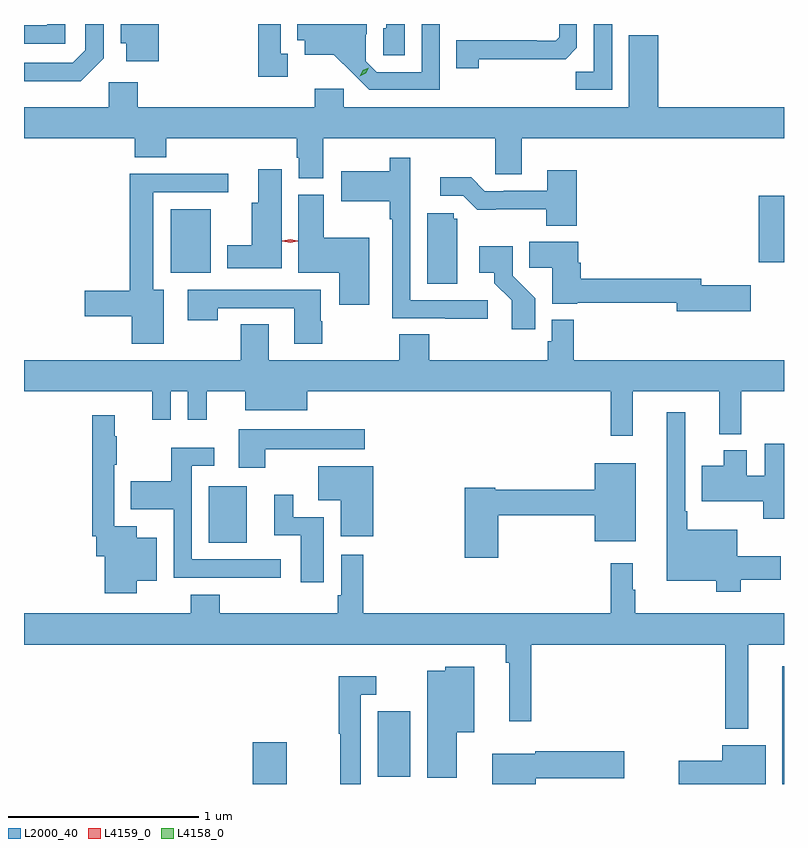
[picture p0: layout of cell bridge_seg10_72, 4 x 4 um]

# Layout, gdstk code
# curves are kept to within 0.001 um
import gdstk
lib = gdstk.Library(unit=1e-6, precision=1e-09)
def R(c, l, rs):  # rectangles x0, y0, x1, y1
    for r in rs: c.add(gdstk.rectangle(r[:2], r[2:], *l))
def P(c, l, *ps):  # polygons
    for p in ps: c.add(gdstk.Polygon(p, *l))
L2000_40 = (2000, 40)
L4158_0 = (4158, 0)
L4159_0 = (4159, 0)

bridge_seg10_72 = lib.new_cell('bridge_seg10_72')
R(bridge_seg10_72, L2000_40, [(712.118,1278.27,712.296,1278.49), (714.905,1278.27,714.914,1278.889), (712.775,1278.308,712.948,1278.652), (711.887,1279.541,712.087,1279.837), (711.686,1280.96,711.898,1281.295), (714.782,1281.015,714.914,1281.367)])
P(bridge_seg10_72, L2000_40, [(711.333,1282.089),(711.333,1282.27),(711.237,1282.27),(711.237,1282.131),(711.171,1282.065),(710.914,1282.065),(710.914,1281.968),(711.212,1281.968)],
  [(712.303,1282.113),(712.264,1282.113),(712.264,1282.27),(712.146,1282.27),(712.146,1281.993),(712.303,1281.993)],
  [(711.623,1282.27),(711.422,1282.27),(711.422,1282.169),(711.452,1282.169),(711.452,1282.074),(711.623,1282.074)],
  [(713.103,1282.27),(713.007,1282.27),(713.007,1282.017),(712.77,1282.017),(712.713,1282.074),(712.713,1282.216),(712.717,1282.216),(712.717,1282.27),(712.352,1282.27),(712.352,1282.185),(712.391,1282.185),(712.391,1282.109),(712.543,1282.109),(712.73,1281.924),(713.103,1281.924)],
  [(714.009,1282.27),(713.913,1282.27),(713.913,1282.019),(713.818,1282.019),(713.818,1281.924),(714.009,1281.924)],
  [(711.132,1282.27),(711.036,1282.27),(711.036,1282.263),(710.914,1282.263),(710.914,1282.167),(711.132,1282.167)],
  [(713.307,1282.084),(713.764,1282.085),(713.823,1282.144),(713.823,1282.27),(713.73,1282.27),(713.73,1282.2),(713.712,1282.182),(713.612,1282.182),(713.612,1282.185),(713.188,1282.185),(713.188,1282.038),(713.307,1282.038)],
  [(712.917,1282.27),(712.821,1282.27),(712.821,1282.248),(712.806,1282.248),(712.806,1282.105),(712.917,1282.105)],
  [(712.489,1281.668),(713.394,1281.668),(713.394,1281.478),(713.533,1281.478),(713.533,1281.668),(714.914,1281.668),(714.914,1281.832),(714.251,1281.832),(714.251,1282.21),(714.098,1282.21),(714.098,1281.832),(712.596,1281.832),(712.596,1281.928),(712.445,1281.928),(712.445,1281.832),(711.512,1281.832),(711.512,1281.964),(711.36,1281.964),(711.36,1281.832),(710.914,1281.832),(710.914,1281.668),(711.497,1281.668),(711.497,1281.569),(711.662,1281.569),(711.662,1281.668),(712.349,1281.668),(712.349,1281.567),(712.361,1281.567),(712.361,1281.457),(712.489,1281.457)],
  [(713.356,1280.817),(712.947,1280.817),(712.947,1281.342),(712.948,1281.342),(712.948,1281.565),(712.839,1281.565),(712.839,1281.496),(712.584,1281.496),(712.584,1281.338),(712.839,1281.338),(712.839,1281.242),(712.851,1281.242),(712.851,1280.721),(713.131,1280.721),(713.131,1280.719),(713.356,1280.719)],
  [(712.27,1281.505),(712.148,1281.505),(712.148,1281.328),(712.112,1281.328),(712.112,1281.106),(711.983,1281.106),(711.983,1280.984),(712.27,1280.984)],
  [(713.822,1281.499),(713.669,1281.499),(713.669,1281.393),(713.44,1281.393),(713.44,1281.39),(713.34,1281.39),(713.267,1281.463),(713.106,1281.463),(713.106,1281.366),(713.226,1281.366),(713.299,1281.293),(713.662,1281.294),(713.662,1281.209),(713.822,1281.209)],
  [(711.649,1280.872),(711.595,1280.872),(711.595,1281.384),(711.988,1281.384),(711.988,1281.482),(711.47,1281.482),(711.47,1280.867),(711.234,1280.867),(711.234,1280.732),(711.482,1280.732),(711.482,1280.586),(711.649,1280.586)],
  [(712.732,1281.145),(712.492,1281.145),(712.492,1281.372),(712.358,1281.372),(712.358,1280.96),(712.574,1280.96),(712.574,1280.793),(712.732,1280.793)],
  [(713.194,1281.246),(713.175,1281.246),(713.175,1281.273),(713.036,1281.273),(713.036,1280.902),(713.194,1280.902)],
  [(714.739,1280.894),(714.478,1280.894),(714.478,1280.93),(713.843,1280.93),(713.843,1281.014),(713.83,1281.014),(713.83,1281.124),(713.572,1281.124),(713.572,1280.986),(713.693,1280.986),(713.693,1280.798),(713.826,1280.798),(713.826,1280.802),(714.35,1280.802),(714.35,1280.759),(714.739,1280.759)],
  [(713.606,1280.826),(713.487,1280.945),(713.487,1281.1),(713.31,1281.1),(713.31,1280.96),(713.39,1280.96),(713.39,1280.905),(713.481,1280.815),(713.481,1280.664),(713.606,1280.664)],
  [(712.485,1280.705),(712.477,1280.705),(712.477,1280.871),(711.777,1280.871),(711.777,1280.712),(711.933,1280.712),(711.933,1280.775),(712.337,1280.775),(712.337,1280.586),(712.485,1280.586)],
  [(710.914,1280.336),(711.59,1280.336),(711.59,1280.187),(711.687,1280.187),(711.687,1280.336),(711.777,1280.336),(711.777,1280.187),(711.875,1280.187),(711.875,1280.336),(712.079,1280.336),(712.079,1280.237),(712.405,1280.237),(712.405,1280.336),(714.001,1280.336),(714.001,1280.103),(714.119,1280.103),(714.119,1280.336),(714.572,1280.336),(714.572,1280.111),(714.689,1280.111),(714.689,1280.336),(714.914,1280.336),(714.914,1280.5),(713.807,1280.5),(713.807,1280.713),(713.691,1280.713),(713.691,1280.601),(713.671,1280.601),(713.671,1280.5),(713.048,1280.5),(713.048,1280.636),(712.888,1280.636),(712.888,1280.5),(712.201,1280.5),(712.201,1280.69),(712.054,1280.69),(712.054,1280.5),(710.914,1280.5)],
  [(714.686,1279.346),(714.898,1279.346),(714.898,1279.468),(714.667,1279.468),(714.667,1279.609),(714.406,1279.609),(714.406,1279.705),(714.393,1279.705),(714.393,1280.227),(714.296,1280.227),(714.296,1279.34),(714.558,1279.34),(714.558,1279.283),(714.686,1279.283)],
  [(711.508,1279.34),(711.613,1279.34),(711.613,1279.567),(711.508,1279.567),(711.508,1279.627),(711.39,1279.627),(711.39,1279.951),(711.403,1279.951),(711.403,1280.099),(711.392,1280.099),(711.392,1280.212),(711.274,1280.212),(711.274,1279.573),(711.294,1279.573),(711.294,1279.469),(711.338,1279.469),(711.338,1279.275),(711.508,1279.275)],
  [(712.183,1280.033),(712.708,1280.033),(712.708,1280.137),(712.043,1280.137),(712.043,1279.935),(712.183,1279.935)],
  [(714.914,1280.062),(714.812,1280.062),(714.812,1279.893),(714.718,1279.893),(714.718,1280.026),(714.596,1280.026),(714.596,1279.945),(714.482,1279.945),(714.482,1279.757),(714.805,1279.757),(714.805,1279.665),(714.914,1279.665)],
  [(712.264,1279.452),(711.798,1279.452),(711.798,1279.944),(711.916,1279.944),(711.916,1280.041),(711.69,1280.041),(711.69,1279.863),(711.475,1279.863),(711.475,1279.715),(711.702,1279.715),(711.702,1279.356),(712.027,1279.356),(712.027,1279.355),(712.264,1279.355)],
  [(713.411,1279.684),(713.918,1279.684),(713.918,1279.547),(714.133,1279.547),(714.133,1279.957),(713.918,1279.957),(713.918,1279.82),(713.394,1279.82),(713.394,1279.828),(713.233,1279.828),(713.233,1279.461),(713.411,1279.461)],
  [(712.753,1279.942),(712.463,1279.942),(712.463,1279.763),(712.58,1279.763),(712.58,1279.574),(712.753,1279.574)],
  [(712.492,1279.674),(712.33,1279.674),(712.33,1279.792),(712.232,1279.792),(712.232,1279.578),(712.37,1279.578),(712.37,1279.332),(712.492,1279.332)],
  [(713.449,1278.908),(713.468,1278.908),(713.468,1278.6),(713.585,1278.6),(713.585,1279.004),(714.606,1279.004),(714.606,1278.56),(714.727,1278.56),(714.727,1279.004),(714.914,1279.004),(714.914,1279.168),(714.13,1279.168),(714.13,1279.292),(714.118,1279.292),(714.118,1279.432),(714.001,1279.432),(714.001,1279.168),(712.7,1279.168),(712.7,1279.477),(712.584,1279.477),(712.584,1279.264),(712.564,1279.264),(712.564,1279.168),(711.944,1279.168),(711.944,1279.267),(711.791,1279.267),(711.791,1279.168),(710.914,1279.168),(710.914,1279.004),(713.449,1279.004)],
  [(713.191,1278.542),(713.284,1278.542),(713.284,1278.886),(713.13,1278.886),(713.13,1278.865),(713.036,1278.865),(713.036,1278.304),(713.191,1278.304)],
  [(712.686,1278.741),(712.768,1278.741),(712.768,1278.838),(712.57,1278.838),(712.57,1278.534),(712.578,1278.534),(712.578,1278.27),(712.686,1278.27)],
  [(714.817,1278.475),(714.59,1278.475),(714.59,1278.392),(714.36,1278.392),(714.36,1278.27),(714.817,1278.27)],
  [(713.608,1278.301),(714.073,1278.301),(714.073,1278.443),(713.604,1278.443),(713.604,1278.43),(713.378,1278.43),(713.378,1278.27),(713.608,1278.27)])
P(bridge_seg10_72, L4158_0, [(712.682,1281.995),(712.682,1281.996),(712.698,1282.026),(712.729,1282.041),(712.729,1282.041),(712.729,1282.041),(712.712,1282.011),(712.682,1281.995)])
P(bridge_seg10_72, L4159_0, [(712.314,1281.118),(712.274,1281.127),(712.274,1281.128),(712.274,1281.128),(712.314,1281.138),(712.354,1281.128),(712.354,1281.128),(712.354,1281.127)])

lib.write_gds('bridge_seg10_72.gds')
